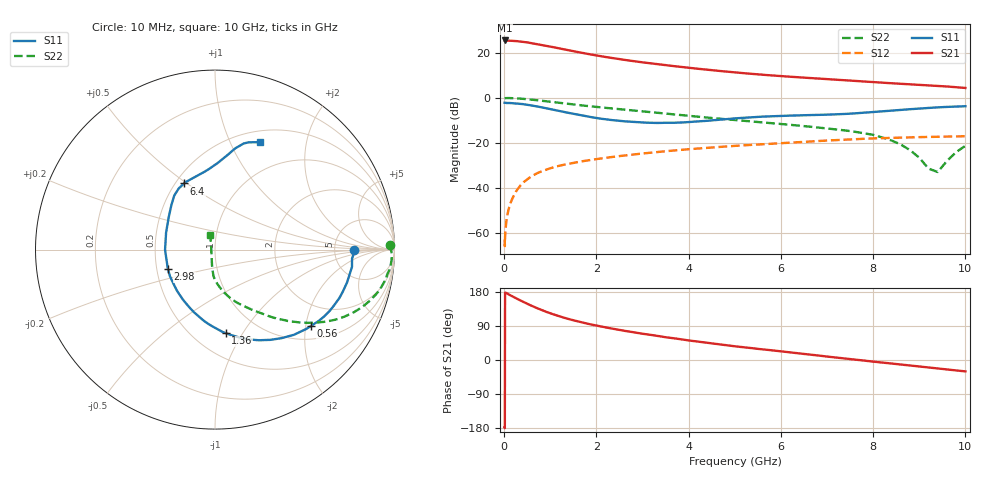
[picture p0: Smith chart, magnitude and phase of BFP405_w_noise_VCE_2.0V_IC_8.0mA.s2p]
! Infineon Technologies  Discrete & RF Semiconductors
! BFP405
! VCE =  2.0 V,  IC =  8.0 mA
! Common Emitter S-Parameters:  Jan 2016
# GHz  S  MA  R  50
!  f  S11  S21  S12  S22
! GHz  MAG  ANG  MAG  ANG  MAG  ANG  MAG  ANG
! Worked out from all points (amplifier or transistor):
!   233 points, 10 MHz to 10 GHz, reference 50 ohm
!   highest |S21| = 25.5 dB at 10 MHz (marker M1)
!   |S21| within 3 dB of that: start of sweep to 1.067 GHz
!   unconditionally stable (mu >= 1): start of sweep to 16.51 MHz; 2.828 GHz to end of sweep
!   at 200 MHz: K = 0.12, MSG = 34.6 dB, |S12| = -43.9 dB
!   at 1.74 GHz: K = 0.71, MSG = 23.9 dB, |S12| = -28.1 dB
!   at 10 GHz: K = 1.41, MAG = 7.0 dB, |S12| = -17.1 dB
!   lowest NFmin = 1.48 dB at 900 MHz
!   S11 on the Smith chart (normalised r, x): 10 MHz: 7.92, -0.05; 560 MHz: 1.35, -2.14; 1.36 GHz: 0.71, -0.85; 2.98 GHz: 0.57, -0.14; 6.4 GHz: 0.55, +0.49; 10 GHz: 0.63, +1.30
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0.01  0.7758 -0.1  18.85 -177.8  0.0007 -2.6  0.9753 1.6
0.02  0.7757 -1.3  18.79 178.0  0.0008 96.6  0.9813 -0.1
0.08  0.7673 -5.8  18.65 174.4  0.0028 86.5  0.9859 -2.3
0.24  0.7517 -17.1  18.35 164.1  0.0077 82.4  0.9709 -7.9
0.4  0.7245 -28.1  17.63 154.2  0.0126 77.3  0.9499 -12.7
0.56  0.6835 -38.4  16.65 145.0  0.017 72.7  0.9174 -17.1
0.7  0.6475 -47.1  15.76 137.5  0.0206 69.4  0.8861 -20.7
0.9  0.5893 -58.6  14.44 127.6  0.025 65.3  0.8388 -25.2
1.1  0.5341 -69.6  13.15 119.1  0.029 62.0  0.7926 -28.9
1.36  0.4696 -82.6  11.61 109.5  0.0335 58.7  0.7369 -32.9
1.68  0.4048 -97.9  10.03 99.4  0.0385 55.5  0.677 -37.0
1.88  0.3718 -107.4  9.189 93.8  0.0415 53.9  0.6441 -39.2
2.2  0.3324 -122.2  8.076 85.9  0.0461 51.6  0.5976 -42.3
2.98  0.2837 -157.4  6.183 69.7  0.0573 46.6  0.5025 -49.1
3.4  0.2761 -175.4  5.469 62.2  0.0633 43.8  0.4566 -52.6
4  0.2884 160.9  4.648 51.6  0.0717 39.8  0.3973 -58.0
5.1  0.3535 132.6  3.595 34.9  0.0864 32.0  0.313 -68.4
6.4  0.4069 115.0  2.85 17.4  0.1036 22.9  0.2399 -78.7
6.8  0.4155 108.4  2.674 12.0  0.1091 19.8  0.2185 -81.8
8.4  0.5191 83.8  2.105 -9.3  0.1284 5.7  0.112 -97.3
9.4  0.6122 74.9  1.84 -22.4  0.136 -2.7  0.0223 160.2
10  0.6494 67.2  1.655 -30.1  0.1394 -7.0  0.0856 108.3
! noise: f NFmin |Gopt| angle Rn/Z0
0.9  1.48  0.25  8  0.32
1.8  1.74  0.19  10  0.3
2.4  1.86  0.16  14  0.3
3  1.88  0.12  33  0.28
4  2.05  0.03  -6  0.27
5  2.41  0.06  -110  0.26
